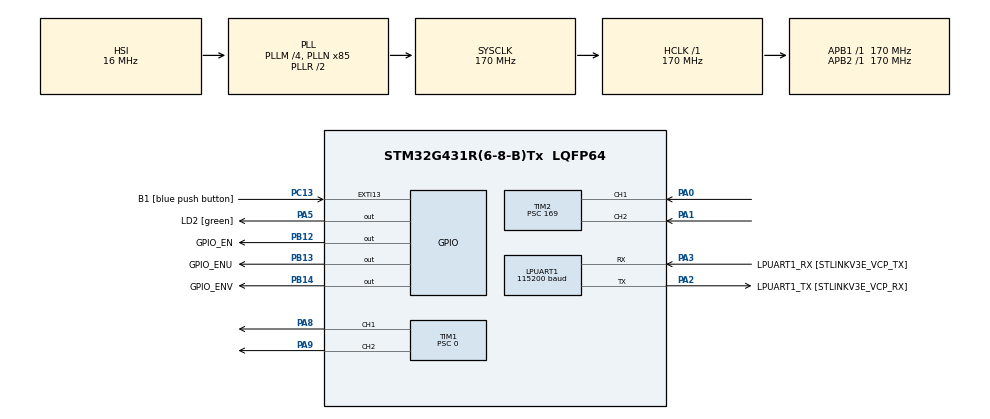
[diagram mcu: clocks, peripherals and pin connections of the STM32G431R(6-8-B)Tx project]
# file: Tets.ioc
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LPUART1.BaudRate=115200
LPUART1.WordLength=UART_WORDLENGTH_8B
Mcu.Family=STM32G4
Mcu.Name=STM32G431R(6-8-B)Tx
Mcu.Package=LQFP64
NVIC.EXTI15_10_IRQn=true\:0\:0\:false\:false\:true\:true\:true\:true
NVIC.PriorityGroup=NVIC_PRIORITYGROUP_4
NVIC.TIM3_IRQn=true\:0\:0\:false\:false\:true\:true\:true\:true
PA0.Signal=S_TIM2_CH1
PA1.Signal=S_TIM2_CH2
PA13.GPIO_Label=T_SWDIO
PA13.Mode=Serial_Wire
PA13.Signal=SYS_JTMS-SWDIO
PA14.GPIO_Label=T_SWCLK
PA14.Mode=Serial_Wire
PA14.Signal=SYS_JTCK-SWCLK
PA2.GPIO_Label=LPUART1_TX [STLINKV3E_VCP_RX]
PA2.Mode=Asynchronous
PA2.Signal=LPUART1_TX
PA3.GPIO_Label=LPUART1_RX [STLINKV3E_VCP_TX]
PA3.Mode=Asynchronous
PA3.Signal=LPUART1_RX
PA5.GPIO_Label=LD2 [green]
PA5.Signal=GPIO_Output
PA8.Signal=S_TIM1_CH1
PA9.Signal=S_TIM1_CH2
PB12.GPIO_Label=GPIO_EN
PB12.PinState=GPIO_PIN_SET
PB12.Signal=GPIO_Output
PB13.GPIO_Label=GPIO_ENU
PB13.PinState=GPIO_PIN_SET
PB13.Signal=GPIO_Output
PB14.GPIO_Label=GPIO_ENV
PB14.PinState=GPIO_PIN_SET
PB14.Signal=GPIO_Output
PB3.GPIO_Label=T_SWO
PB3.Signal=SYS_JTDO-SWO
PC13.GPIO_Label=B1 [blue push button]
PC13.Signal=GPXTI13
PC14-OSC32_IN.Mode=LSE-External-Oscillator
PC14-OSC32_IN.Signal=RCC_OSC32_IN
PC15-OSC32_OUT.Mode=LSE-External-Oscillator
PC15-OSC32_OUT.Signal=RCC_OSC32_OUT
PF0-OSC_IN.Mode=HSE-External-Oscillator
PF0-OSC_IN.Signal=RCC_OSC_IN
PF1-OSC_OUT.Mode=HSE-External-Oscillator
PF1-OSC_OUT.Signal=RCC_OSC_OUT
ProjectManager.HeapSize=0x200
ProjectManager.StackSize=0x400
ProjectManager.TargetToolchain=STM32CubeIDE
RCC.ADC12Freq_Value=170000000
RCC.AHBFreq_Value=170000000
RCC.APB1Freq_Value=170000000
RCC.APB1TimFreq_Value=170000000
RCC.APB2Freq_Value=170000000
RCC.APB2TimFreq_Value=170000000
RCC.CortexFreq_Value=170000000
RCC.EXTERNAL_CLOCK_VALUE=12288000
RCC.HCLKFreq_Value=170000000
RCC.HSE_VALUE=24000000
RCC.HSI48_VALUE=48000000
RCC.HSI_VALUE=16000000
RCC.PLLM=RCC_PLLM_DIV4
RCC.PLLN=85
RCC.RTCClockSelection=RCC_RTCCLKSOURCE_LSE
RCC.SYSCLKFreq_VALUE=170000000
RCC.SYSCLKSource=RCC_SYSCLKSOURCE_PLLCLK
RCC.USBFreq_Value=170000000
RCC.VCOOutputFreq_Value=340000000
SH.S_TIM1_CH1.0=TIM1_CH1,PWM Generation1 CH1
SH.S_TIM1_CH2.0=TIM1_CH2,PWM Generation2 CH2
SH.S_TIM2_CH1.0=TIM2_CH1,Encoder_Interface
SH.S_TIM2_CH2.0=TIM2_CH2,Encoder_Interface
TIM1.Channel-PWM\ Generation1\ CH1=TIM_CHANNEL_1
TIM1.Channel-PWM\ Generation2\ CH2=TIM_CHANNEL_2
TIM1.PeriodNoDither=6799
TIM1.Prescaler=0
TIM2.EncoderMode=TIM_ENCODERMODE_TI12
TIM2.Prescaler=169
TIM3.PeriodNoDither=999
TIM3.Prescaler=1699
VP_SYS_VS_DBSignals.Mode=DisableDeadBatterySignals
VP_TIM3_VS_ClockSourceINT.Mode=Internal
board=NUCLEO-G431RB

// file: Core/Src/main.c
/* USER CODE BEGIN Header */
/**
  ******************************************************************************
  * @file           : main.c
  * @brief          : Main program body
  ******************************************************************************
  * @attention
  *
  * Copyright (c) 2023 STMicroelectronics.
  * All rights reserved.
  *
  * This software is licensed under terms that can be found in the LICENSE file
  * in the root directory of this software component.
  * If no LICENSE file comes with this software, it is provided AS-IS.
  *
  ******************************************************************************
  */
/* USER CODE END Header */
#include "main.h"
#include "usart.h"
#include "tim.h"
#include "gpio.h"

/* USER CODE BEGIN Includes */
#include "stdio.h"
#include "motor_drv.h"
#include "encoder.h"
#include "pwm.h"
#include "shell.h"
#include "pid.h"
#include <math.h>
/* USER CODE END Includes */

/* USER CODE BEGIN PM */

#define FE 100
#define TE 0.01
/* USER CODE END PM */

/* USER CODE BEGIN PV */
  uint32_t last_encoder_value = 0;
  uint32_t current_encoder_value = 0;
  float inputs_pid[3] = {0};
  float outputs_pid[3] = {0};
/* USER CODE END PV */

void SystemClock_Config(void);

/* USER CODE BEGIN 0 */
int __io_putchar(int chr)
{
	HAL_UART_Transmit(&hlpuart1, (uint8_t*)&chr, 1, HAL_MAX_DELAY);
	return chr;
}

void HAL_TIM_PeriodElapsedCallback(TIM_HandleTypeDef *htim)
{
	if(htim->Instance == TIM3)
	{
		// Lecture encoder
		current_encoder_value = READ_ENCODER(htim2);
		//printf("Current encoder value = %ld\r\n", current_encoder_value);

		// Distance entre les deux valeurs d'encoder (en tour)
		float distance = (current_encoder_value - last_encoder_value) / RES_ENCODER;
		//printf("Distance = %f\r\n", distance);

		// Conversion en vitesse (tour par minute)
		float rpm = 60.0 * distance / TE ;
		//printf("Vitesse en tour par minute = %f\r\n", rpm);

		// Conversion de la vitesse entre 0 et 100
		float speed = 100.0 * rpm / (float)MAX_RPM;
		//printf("Vitesse (0-100) = %f\r\n", speed);

		// Erreur entre la consigne et la mesure
		error(&pid_motor_left, inputs_pid, motor_left.speed, speed);

		// Corection
		correcteur(&pid_motor_left, inputs_pid, outputs_pid);

		if(outputs_pid[pid_motor_left.index] != 0)
		{
			printf("%f\r\n", fabs(outputs_pid[pid_motor_left.index]));
			//forwardMotor(&motor_left, outputs_pid[pid_motor_left.index]);
		}
		last_encoder_value = current_encoder_value;
	}
}

/* USER CODE END 0 */

int main(void)
{

  /* MCU Configuration--------------------------------------------------------*/

  /* Reset of all peripherals, Initializes the Flash interface and the Systick. */
  HAL_Init();

  /* Configure the system clock */
  SystemClock_Config();

  /* Initialize all configured peripherals */
  MX_GPIO_Init();
  MX_LPUART1_UART_Init();
  MX_TIM1_Init();
  MX_TIM2_Init();
  MX_TIM3_Init();
  /* USER CODE BEGIN 2 */
  if(HAL_TIM_Encoder_Start(&htim2, TIM_CHANNEL_ALL) != HAL_OK) // Encodeur
  {
	  printf("Error start timer encoder\r\n");
	  Error_Handler();
  }
  if(HAL_TIM_Base_Start_IT(&htim3) != HAL_OK) // Interruption asservissement moteur
  {
	  printf("Error start timer 3\r\n");
	  Error_Handler();
  }

  // Pwm motor init
  PWM fwd = {&htim1, TIM_CHANNEL_1, 0.0};
  PWM rev = {&htim1, TIM_CHANNEL_2, 0.0};

  // Motor init
  initMotor(&motor_left, &fwd, &rev);

  // PID init
  initPID(&pid_motor_left, 0.0, 0.0, 0.0, TE);

  /* USER CODE END 2 */

  /* Infinite loop */
  /* USER CODE BEGIN WHILE */
  forwardMotor(&motor_left, 15);
  HAL_Delay(10000);
  //stopMotor(&motor_left);
  //HAL_TIM_Base_Stop_IT(&htim3);
//  START_PWM(*motor_left.fwd);
//  setPwmDutyCycle(motor_left.fwd, 0);

  while (1)
  {

//	  while(i < 15)
//	  {
//		  current_encoder_value = READ_ENCODER(htim2);
//		  end_ms = HAL_GetTick();
//
//		  time_ms = end_ms - start_ms;
//
//		  printf("i = %d\n\r", i);
//		  printf("%ld\n\r", end_ms);
//		  printf("Time = %ld\r\n", time_ms);
//		  printf("Encoder = %ld\r\n", current_encoder_value);
//		  printf("Speed = %f\r\n", convertEncoderToSpeed(prev_encoder_value, current_encoder_value, time_ms));
//		  printf("\n\n");
//		  prev_encoder_value = current_encoder_value;
//		  start_ms = end_ms;
//
//		  HAL_Delay(1000);
//		  i++;
//
//		  if(i == 7)
//		  {
//			  setPwmDutyCycle(&fwd, 0.3f);
//		  }
//	  }
//	  STOP_PWM(fwd);

    /* USER CODE END WHILE */

  }
}

void SystemClock_Config(void)
{
  RCC_OscInitTypeDef RCC_OscInitStruct = {0};
  RCC_ClkInitTypeDef RCC_ClkInitStruct = {0};

  /** Configure the main internal regulator output voltage
  */
  HAL_PWREx_ControlVoltageScaling(PWR_REGULATOR_VOLTAGE_SCALE1_BOOST);

  /** Initializes the RCC Oscillators according to the specified parameters
  * in the RCC_OscInitTypeDef structure.
  */
  RCC_OscInitStruct.OscillatorType = RCC_OSCILLATORTYPE_HSI;
  RCC_OscInitStruct.HSIState = RCC_HSI_ON;
  RCC_OscInitStruct.HSICalibrationValue = RCC_HSICALIBRATION_DEFAULT;
  RCC_OscInitStruct.PLL.PLLState = RCC_PLL_ON;
  RCC_OscInitStruct.PLL.PLLSource = RCC_PLLSOURCE_HSI;
  RCC_OscInitStruct.PLL.PLLM = RCC_PLLM_DIV4;
  RCC_OscInitStruct.PLL.PLLN = 85;
  RCC_OscInitStruct.PLL.PLLP = RCC_PLLP_DIV2;
  RCC_OscInitStruct.PLL.PLLQ = RCC_PLLQ_DIV2;
  RCC_OscInitStruct.PLL.PLLR = RCC_PLLR_DIV2;
  if (HAL_RCC_OscConfig(&RCC_OscInitStruct) != HAL_OK)
  {
    Error_Handler();
  }

  /** Initializes the CPU, AHB and APB buses clocks
  */
  RCC_ClkInitStruct.ClockType = RCC_CLOCKTYPE_HCLK|RCC_CLOCKTYPE_SYSCLK
                              |RCC_CLOCKTYPE_PCLK1|RCC_CLOCKTYPE_PCLK2;
  RCC_ClkInitStruct.SYSCLKSource = RCC_SYSCLKSOURCE_PLLCLK;
  RCC_ClkInitStruct.AHBCLKDivider = RCC_SYSCLK_DIV1;
  RCC_ClkInitStruct.APB1CLKDivider = RCC_HCLK_DIV1;
  RCC_ClkInitStruct.APB2CLKDivider = RCC_HCLK_DIV1;

  if (HAL_RCC_ClockConfig(&RCC_ClkInitStruct, FLASH_LATENCY_4) != HAL_OK)
  {
    Error_Handler();
  }
}

void Error_Handler(void)
{
  __disable_irq();
  while (1)
  {
  }
}
